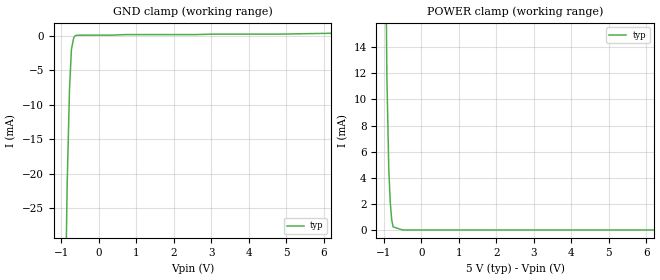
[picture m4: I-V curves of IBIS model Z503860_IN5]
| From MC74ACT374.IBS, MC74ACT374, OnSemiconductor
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| (C) COPYRIGHT 1993-2000
| MENTOR GRAPHICS CORPORATION
| ICX STANDARD LIBRARY, ICX PROJECT MODELING,
| ICX CUSTOM MODELING, ICX VENDOR MODEL
| ALL RIGHTS RESERVED.
| THE FOLLOWING ARE TRADEMARKS OR SERVICE MARKS OF
| MENTOR GRAPHICS CORPORATION:ICX (R), ICX STANDARD
| LIBRARY(R), ICX PROJECT MODELING(R), ICX CUSTOM
| MODELING(R), qualityIBIS(TM), MODELVIEWER(TM),
| AND MODELEDITOR(TM)
| ALL COPIES OF SOFTWARE, INCLUDING BUT NOT LIMITED TO
| ANY MODIFICATIONS, ENHANCEMENTS OR DERIVATIVE WORKS,
| MUST CONTAIN ALL MENTOR GRAPHICS CORPORATION'S
| NOTICES AND LEGENDS, INCLUDING THOSE EMBEDDED IN
| SOFTWARE AND THOSE AFFIXED TO SOFTWARE MEDIUM
| AND CONTAINER, AS RECEIVED FROM MENTOR GRAPHICS
| CORPORATION.
| Model Application Version 1.89 2/18/99.
[Model] Z503860_IN5
Model_type Input
Vinl = 800.0mV
Vinh = 2.000V
C_comp 4.000pF NA NA
| variable typ   min   max
[Voltage Range] 5.000V NA NA
[GND Clamp Reference] 0.000V NA NA
[POWER Clamp Reference] 5.000V NA NA
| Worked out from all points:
|   GND clamp passes 1 mA (typ) near -0.70 V on its own axis
|   POWER clamp passes 1 mA (typ) near -0.80 V on its own axis
[GND Clamp]
-5V       -2.927A    NA         NA
-1.001V   -80.55mA   NA         NA
-844.7mV  -21.72mA   NA         NA
-781.3mV  -7.612mA   NA         NA
-730.2mV  -1.944mA   NA         NA
-668.1mV  -204.6uA   NA         NA
-628.4mV  66.06uA    NA         NA
722.8mV   216.4uA    NA         NA
4.842V    284.9uA    NA         NA
10V       754.8uA    NA         NA
[POWER Clamp]
-5V       2.81A      NA         NA
-1.162V   120.5mA    NA         NA
-1.025V   45.12mA    NA         NA
-918mV    11.72mA    NA         NA
-868mV    4.67mA     NA         NA
-830mV    2.204mA    NA         NA
-791mV    790.6uA    NA         NA
-751mV    235.6uA    NA         NA
-500.7mV  0A         NA         NA
10V       0A         NA         NA
